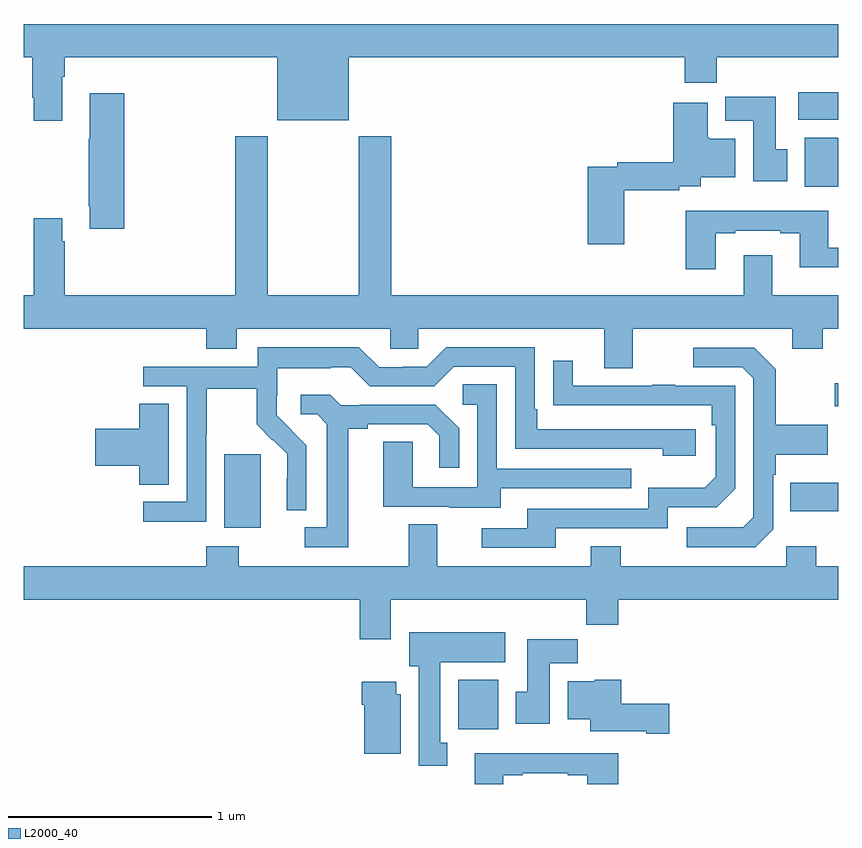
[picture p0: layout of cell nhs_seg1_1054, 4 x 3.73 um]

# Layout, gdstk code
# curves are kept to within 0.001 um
import gdstk
lib = gdstk.Library(unit=1e-6, precision=1e-09)
def R(c, l, rs):  # rectangles x0, y0, x1, y1
    for r in rs: c.add(gdstk.rectangle(r[:2], r[2:], *l))
def P(c, l, *ps):  # polygons
    for p in ps: c.add(gdstk.Polygon(p, *l))
L2000_40 = (2000, 40)

nhs_seg1_1054 = lib.new_cell('nhs_seg1_1054')
R(nhs_seg1_1054, L2000_40, [(171.134,512.468,171.331,512.71), (169.985,513.458,170.164,513.819), (172.765,513.539,173,513.679), (172.983,514.055,173,514.168), (172.835,515.132,173,515.374), (172.803,515.462,173,515.596)])
P(nhs_seg1_1054, L2000_40, [(169,515.768),(169.042,515.768),(169.042,515.569),(169.049,515.569),(169.049,515.457),(169.189,515.457),(169.189,515.672),(169.202,515.672),(169.202,515.768),(170.246,515.768),(170.246,515.459),(170.596,515.459),(170.596,515.768),(172.247,515.768),(172.247,515.644),(172.403,515.644),(172.403,515.768),(173,515.768),(173,515.932),(169,515.932)],
  [(169.493,515.593),(169.325,515.593),(169.325,515.369),(169.318,515.369),(169.318,515.038),(169.325,515.038),(169.325,514.926),(169.493,514.926)],
  [(172.75,515.316),(172.693,515.316),(172.693,515.574),(172.445,515.574),(172.445,515.456),(172.583,515.456),(172.583,515.16),(172.75,515.16)],
  [(171.948,515.116),(172.22,515.116),(172.22,515.136),(172.324,515.136),(172.324,515.18),(172.495,515.18),(172.495,515.368),(172.366,515.368),(172.366,515.374),(172.36,515.374),(172.36,515.545),(172.19,515.545),(172.19,515.252),(171.916,515.252),(171.916,515.232),(171.77,515.232),(171.77,514.851),(171.948,514.851)],
  [(171.991,514.436),(172.775,514.436),(172.775,514.337),(172.923,514.337),(172.923,514.436),(173,514.436),(173,514.6),(172.675,514.6),(172.675,514.795),(172.535,514.795),(172.535,514.6),(170.804,514.6),(170.804,515.38),(170.644,515.38),(170.644,514.6),(170.199,514.6),(170.199,515.38),(170.039,515.38),(170.039,514.6),(169.202,514.6),(169.202,514.865),(169.189,514.865),(169.189,514.978),(169.049,514.978),(169.049,514.6),(169,514.6),(169,514.436),(169.895,514.436),(169.895,514.337),(170.047,514.337),(170.047,514.436),(170.799,514.436),(170.799,514.338),(170.937,514.338),(170.937,514.436),(171.851,514.436),(171.851,514.242),(171.991,514.242)],
  [(172.399,514.905),(172.495,514.905),(172.495,514.917),(172.715,514.917),(172.715,514.905),(172.811,514.905),(172.811,514.736),(173,514.736),(173,514.833),(172.951,514.833),(172.951,515.014),(172.252,515.014),(172.252,514.728),(172.399,514.728)],
  [(169.896,513.916),(169.899,513.916),(169.899,514.14),(170.143,514.14),(170.143,513.965),(170.22,513.888),(170.223,513.891),(170.294,513.821),(170.294,513.698),(170.292,513.698),(170.292,513.544),(170.388,513.544),(170.388,513.862),(170.242,514.01),(170.242,514.107),(170.244,514.107),(170.244,514.241),(170.507,514.241),(170.507,514.245),(170.607,514.245),(170.7,514.152),(171.015,514.152),(171.111,514.248),(171.414,514.248),(171.414,513.846),(172.139,513.846),(172.139,513.812),(172.3,513.812),(172.3,513.942),(171.523,513.942),(171.523,514.039),(171.51,514.039),(171.51,514.344),(171.075,514.344),(170.979,514.248),(170.861,514.248),(170.861,514.245),(170.745,514.245),(170.645,514.345),(170.148,514.345),(170.148,514.248),(169.587,514.248),(169.587,514.152),(169.8,514.152),(169.8,513.585),(169.587,513.585),(169.587,513.487),(169.896,513.487)],
  [(172.68,513.45),(172.68,513.719),(172.693,513.719),(172.693,513.815),(172.949,513.815),(172.949,513.963),(172.693,513.963),(172.693,514.235),(172.587,514.341),(172.287,514.341),(172.287,514.245),(172.53,514.245),(172.584,514.191),(172.584,513.51),(172.533,513.459),(172.257,513.459),(172.257,513.363),(172.593,513.363)],
  [(171.613,513.456),(172.164,513.456),(172.164,513.558),(172.404,513.558),(172.494,513.648),(172.494,514.155),(172.199,514.155),(172.199,514.16),(172.087,514.16),(172.087,514.155),(171.697,514.155),(171.697,514.279),(171.601,514.279),(171.601,514.06),(172.378,514.059),(172.378,513.962),(172.398,513.962),(172.398,513.708),(172.345,513.655),(172.068,513.655),(172.068,513.552),(171.473,513.552),(171.473,513.456),(171.249,513.456),(171.249,513.36),(171.613,513.36)],
  [(171.343,513.651),(171.983,513.651),(171.983,513.747),(171.324,513.747),(171.324,514.163),(171.156,514.163),(171.156,514.062),(171.228,514.062),(171.228,513.657),(170.91,513.657),(170.91,513.881),(170.765,513.881),(170.765,513.561),(171.089,513.561),(171.089,513.557),(171.343,513.557)],
  [(170.593,513.944),(170.689,513.944),(170.689,513.966),(170.984,513.966),(171.041,513.909),(171.041,513.753),(171.138,513.753),(171.138,513.946),(171.022,514.062),(170.65,514.062),(170.65,514.059),(170.556,514.059),(170.504,514.111),(170.361,514.111),(170.361,514.014),(170.442,514.014),(170.489,513.967),(170.489,513.459),(170.379,513.459),(170.379,513.363),(170.593,513.363)],
  [(169.711,514.067),(169.568,514.067),(169.568,513.944),(169.35,513.944),(169.35,513.761),(169.568,513.761),(169.568,513.67),(169.711,513.67)],
  [(170.803,513.104),(171.763,513.104),(171.763,512.98),(171.92,512.98),(171.92,513.104),(173,513.104),(173,513.268),(172.893,513.268),(172.893,513.367),(172.746,513.367),(172.746,513.268),(171.933,513.268),(171.933,513.367),(171.785,513.367),(171.785,513.268),(171.031,513.268),(171.031,513.476),(170.891,513.476),(170.891,513.268),(170.055,513.268),(170.055,513.367),(169.895,513.367),(169.895,513.268),(169,513.268),(169,513.104),(170.651,513.104),(170.651,512.91),(170.803,512.91)],
  [(171.079,512.402),(171.046,512.402),(171.046,512.798),(171.364,512.798),(171.364,512.944),(170.894,512.944),(170.894,512.778),(170.939,512.778),(170.939,512.289),(171.079,512.289)],
  [(171.583,512.792),(171.722,512.792),(171.722,512.911),(171.473,512.911),(171.473,512.652),(171.416,512.652),(171.416,512.496),(171.583,512.496)],
  [(172.171,512.594),(171.935,512.594),(171.935,512.71),(171.804,512.71),(171.804,512.704),(171.671,512.704),(171.671,512.516),(171.782,512.516),(171.782,512.459),(172.058,512.459),(172.058,512.447),(172.171,512.447)],
  [(170.851,512.64),(170.83,512.64),(170.83,512.701),(170.66,512.701),(170.66,512.588),(170.672,512.588),(170.672,512.348),(170.851,512.348)],
  [(171.355,512.241),(171.451,512.241),(171.451,512.253),(171.671,512.253),(171.671,512.241),(171.767,512.241),(171.767,512.199),(171.92,512.199),(171.92,512.35),(171.215,512.35),(171.215,512.199),(171.355,512.199)])

lib.write_gds('nhs_seg1_1054.gds')
